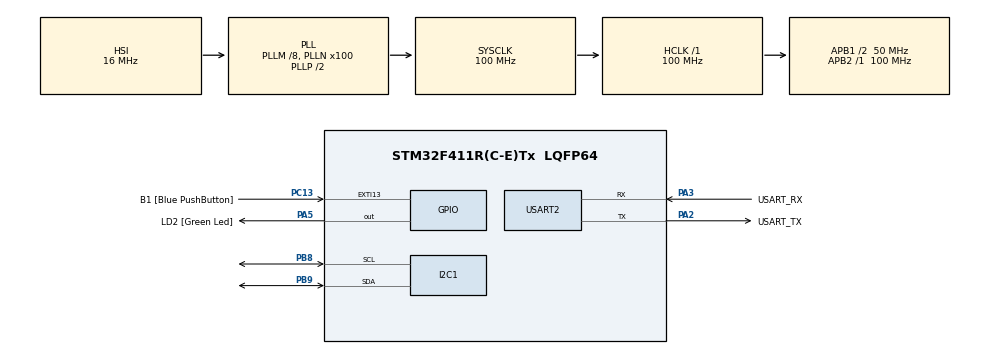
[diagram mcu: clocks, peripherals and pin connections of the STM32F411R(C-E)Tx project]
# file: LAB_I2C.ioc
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Mcu.Family=STM32F4
PC15-OSC32_OUT.Mode=LSE-External-Oscillator
RCC.CortexFreq_Value=100000000
NVIC.I2C1_EV_IRQn=true\:0\:0\:false\:false\:true\:true\:true
PC13-ANTI_TAMP.GPIO_Label=B1 [Blue PushButton]
PA14.GPIO_Label=TCK
PH1\ -\ OSC_OUT.Mode=HSE-External-Clock-Source
RCC.APB1CLKDivider=RCC_HCLK_DIV2
PC14-OSC32_IN.Signal=RCC_OSC32_IN
RCC.SYSCLKSource=RCC_SYSCLKSOURCE_PLLCLK
ProjectManager.StackSize=0x400
PA13.Signal=SYS_JTMS-SWDIO
PA3.Mode=Asynchronous
PH0\ -\ OSC_IN.Mode=HSE-External-Clock-Source
PH0\ -\ OSC_IN.Signal=RCC_OSC_IN
ProjectManager.TargetToolchain=STM32CubeIDE
I2C1.I2C_Mode=I2C_Fast
RCC.HCLKFreq_Value=100000000
PB9.Mode=I2C
RCC.APB2TimFreq_Value=100000000
PC15-OSC32_OUT.Signal=RCC_OSC32_OUT
RCC.AHBFreq_Value=100000000
PA5.Signal=GPIO_Output
RCC.HSE_VALUE=8000000
PH1\ -\ OSC_OUT.Signal=RCC_OSC_OUT
board=NUCLEO-F411RE
PC13-ANTI_TAMP.Signal=GPXTI13
RCC.VCOOutputFreq_Value=200000000
RCC.APB2Freq_Value=100000000
PC14-OSC32_IN.Mode=LSE-External-Oscillator
PA14.Mode=Serial_Wire
PA13.Mode=Serial_Wire
NVIC.I2C1_ER_IRQn=true\:0\:0\:false\:false\:true\:true\:true
Mcu.Name=STM32F411R(C-E)Tx
PA2.Signal=USART2_TX
PA13.GPIO_Label=TMS
RCC.FLatency-AdvancedSettings=FLASH_LATENCY_3
RCC.48MHZClocksFreq_Value=50000000
PB3.Signal=SYS_JTDO-SWO
RCC.SYSCLKFreq_VALUE=100000000
Mcu.Package=LQFP64
PB9.Signal=I2C1_SDA
PA5.GPIO_Label=LD2 [Green Led]
USART2.VirtualMode=VM_ASYNC
PC13-ANTI_TAMP.GPIO_ModeDefaultEXTI=GPIO_MODE_IT_FALLING
PA2.GPIO_Label=USART_TX
PA14.Signal=SYS_JTCK-SWCLK
ProjectManager.HeapSize=0x200
RCC.HSI_VALUE=16000000
NVIC.PriorityGroup=NVIC_PRIORITYGROUP_0
RCC.PLLM=8
PB8.Mode=I2C
RCC.PLLN=100
RCC.APB1TimFreq_Value=100000000
PA2.Mode=Asynchronous
PB8.Signal=I2C1_SCL
RCC.APB1Freq_Value=50000000
PA3.GPIO_Label=USART_RX
PA3.Signal=USART2_RX
PB3.GPIO_Label=SWO

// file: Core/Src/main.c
/* USER CODE BEGIN Header */
/**
  ******************************************************************************
  * @file           : main.c
  * @brief          : Main program body
  ******************************************************************************
  * @attention
  *
  * <h2><center>&copy; Copyright (c) 2021 STMicroelectronics.
  * All rights reserved.</center></h2>
  *
  * This software component is licensed by ST under BSD 3-Clause license,
  * the "License"; You may not use this file except in compliance with the
  * License. You may obtain a copy of the License at:
  *                        opensource.org/licenses/BSD-3-Clause
  *
  ******************************************************************************
  */
/* USER CODE END Header */
#include "main.h"

/* USER CODE BEGIN PD */
#define EEPROM_ADDR 0b10100000
#define IOEXPD_ADDR 0b01000000
/* USER CODE END PD */

I2C_HandleTypeDef hi2c1;

UART_HandleTypeDef huart2;

/* USER CODE BEGIN PV */

void IOExpenderInit();
uint8_t Wdata=0b11111111;
void writerom();
void Readrom();
uint8_t Rdata=0;
uint8_t Iowrite=0b11111111;
void WriteioEx();
uint8_t blue=0;
uint8_t preblue=0;
uint8_t Rio=0;
void ReadioEx();
/* USER CODE END PV */

void SystemClock_Config(void);
static void MX_GPIO_Init(void);
static void MX_USART2_UART_Init(void);
static void MX_I2C1_Init(void);

int main(void)
{

  /* MCU Configuration--------------------------------------------------------*/

  /* Reset of all peripherals, Initializes the Flash interface and the Systick. */

	HAL_Init();

  /* Configure the system clock */
  SystemClock_Config();

  /* Initialize all configured peripherals */
  MX_GPIO_Init();
  MX_USART2_UART_Init();
  MX_I2C1_Init();
  /* USER CODE BEGIN 2 */

  IOExpenderInit();
  Readrom();
  WriteioEx();

  /* USER CODE END 2 */

  /* Infinite loop */
  /* USER CODE BEGIN WHILE */
  while (1)
  {

	  blue=HAL_GPIO_ReadPin(GPIOC, GPIO_PIN_13);
	  	  if(blue==0 && blue!=preblue){
	  		 ReadioEx();
//	  		 HAL_Delay(1000);
	  		 writerom();
	  		 Readrom();
	  		 WriteioEx();

//	  		 writerom();
//	  		 WriteioEx();

	  	  }

	  preblue=blue;
    /* USER CODE END WHILE */

  }
}

void SystemClock_Config(void)
{
  RCC_OscInitTypeDef RCC_OscInitStruct = {0};
  RCC_ClkInitTypeDef RCC_ClkInitStruct = {0};

  /** Configure the main internal regulator output voltage
  */
  __HAL_RCC_PWR_CLK_ENABLE();
  __HAL_PWR_VOLTAGESCALING_CONFIG(PWR_REGULATOR_VOLTAGE_SCALE1);
  /** Initializes the RCC Oscillators according to the specified parameters
  * in the RCC_OscInitTypeDef structure.
  */
  RCC_OscInitStruct.OscillatorType = RCC_OSCILLATORTYPE_HSI;
  RCC_OscInitStruct.HSIState = RCC_HSI_ON;
  RCC_OscInitStruct.HSICalibrationValue = RCC_HSICALIBRATION_DEFAULT;
  RCC_OscInitStruct.PLL.PLLState = RCC_PLL_ON;
  RCC_OscInitStruct.PLL.PLLSource = RCC_PLLSOURCE_HSI;
  RCC_OscInitStruct.PLL.PLLM = 8;
  RCC_OscInitStruct.PLL.PLLN = 100;
  RCC_OscInitStruct.PLL.PLLP = RCC_PLLP_DIV2;
  RCC_OscInitStruct.PLL.PLLQ = 4;
  if (HAL_RCC_OscConfig(&RCC_OscInitStruct) != HAL_OK)
  {
    Error_Handler();
  }
  /** Initializes the CPU, AHB and APB buses clocks
  */
  RCC_ClkInitStruct.ClockType = RCC_CLOCKTYPE_HCLK|RCC_CLOCKTYPE_SYSCLK
                              |RCC_CLOCKTYPE_PCLK1|RCC_CLOCKTYPE_PCLK2;
  RCC_ClkInitStruct.SYSCLKSource = RCC_SYSCLKSOURCE_PLLCLK;
  RCC_ClkInitStruct.AHBCLKDivider = RCC_SYSCLK_DIV1;
  RCC_ClkInitStruct.APB1CLKDivider = RCC_HCLK_DIV2;
  RCC_ClkInitStruct.APB2CLKDivider = RCC_HCLK_DIV1;

  if (HAL_RCC_ClockConfig(&RCC_ClkInitStruct, FLASH_LATENCY_3) != HAL_OK)
  {
    Error_Handler();
  }
}

static void MX_I2C1_Init(void)
{

  hi2c1.Instance = I2C1;
  hi2c1.Init.ClockSpeed = 400000;
  hi2c1.Init.DutyCycle = I2C_DUTYCYCLE_2;
  hi2c1.Init.OwnAddress1 = 0;
  hi2c1.Init.AddressingMode = I2C_ADDRESSINGMODE_7BIT;
  hi2c1.Init.DualAddressMode = I2C_DUALADDRESS_DISABLE;
  hi2c1.Init.OwnAddress2 = 0;
  hi2c1.Init.GeneralCallMode = I2C_GENERALCALL_DISABLE;
  hi2c1.Init.NoStretchMode = I2C_NOSTRETCH_DISABLE;
  if (HAL_I2C_Init(&hi2c1) != HAL_OK)
  {
    Error_Handler();
  }

}

static void MX_USART2_UART_Init(void)
{

  huart2.Instance = USART2;
  huart2.Init.BaudRate = 115200;
  huart2.Init.WordLength = UART_WORDLENGTH_8B;
  huart2.Init.StopBits = UART_STOPBITS_1;
  huart2.Init.Parity = UART_PARITY_NONE;
  huart2.Init.Mode = UART_MODE_TX_RX;
  huart2.Init.HwFlowCtl = UART_HWCONTROL_NONE;
  huart2.Init.OverSampling = UART_OVERSAMPLING_16;
  if (HAL_UART_Init(&huart2) != HAL_OK)
  {
    Error_Handler();
  }

}

static void MX_GPIO_Init(void)
{
  GPIO_InitTypeDef GPIO_InitStruct = {0};

  /* GPIO Ports Clock Enable */
  __HAL_RCC_GPIOC_CLK_ENABLE();
  __HAL_RCC_GPIOH_CLK_ENABLE();
  __HAL_RCC_GPIOA_CLK_ENABLE();
  __HAL_RCC_GPIOB_CLK_ENABLE();

  /*Configure GPIO pin Output Level */
  HAL_GPIO_WritePin(LD2_GPIO_Port, LD2_Pin, GPIO_PIN_RESET);

  /*Configure GPIO pin : B1_Pin */
  GPIO_InitStruct.Pin = B1_Pin;
  GPIO_InitStruct.Mode = GPIO_MODE_IT_FALLING;
  GPIO_InitStruct.Pull = GPIO_NOPULL;
  HAL_GPIO_Init(B1_GPIO_Port, &GPIO_InitStruct);

  /*Configure GPIO pin : LD2_Pin */
  GPIO_InitStruct.Pin = LD2_Pin;
  GPIO_InitStruct.Mode = GPIO_MODE_OUTPUT_PP;
  GPIO_InitStruct.Pull = GPIO_NOPULL;
  GPIO_InitStruct.Speed = GPIO_SPEED_FREQ_LOW;
  HAL_GPIO_Init(LD2_GPIO_Port, &GPIO_InitStruct);

}

/* USER CODE BEGIN 4 */
void writerom(){

	HAL_I2C_Mem_Write(&hi2c1, EEPROM_ADDR, 0x26, I2C_MEMADD_SIZE_16BIT,&Rio, 1,1000);

}
void Readrom(){

	HAL_I2C_Mem_Read(&hi2c1, EEPROM_ADDR, 0x26, I2C_MEMADD_SIZE_16BIT,&Rio,1,1000);

}

void WriteioEx(){

	HAL_I2C_Mem_Write(&hi2c1, IOEXPD_ADDR, 0x15, I2C_MEMADD_SIZE_8BIT,&Rio, 1,1000);
}

void ReadioEx(){
	HAL_I2C_Mem_Read(&hi2c1, IOEXPD_ADDR, 0x12, I2C_MEMADD_SIZE_8BIT,&Rio, 1,1000);
}

void IOExpenderInit() {
	//Init All
	static uint8_t Setting[0x16] = { 0xFF, 0x00, 0x00, 0x00, 0x00, 0x00, 0x00,
			0x00, 0x00, 0x00, 0x00, 0x00, 0xFF, 0x00, 0x00, 0x00, 0x00, 0x00,
			0x00, 0x00, 0x00, 0x00 };
	HAL_I2C_Mem_Write(&hi2c1, IOEXPD_ADDR, 0x00, I2C_MEMADD_SIZE_8BIT, Setting,0x16, 2000);
}

/* USER CODE END 4 */

void Error_Handler(void)
{
  __disable_irq();
  while (1)
  {
  }
}

/************************ (C) COPYRIGHT STMicroelectronics *****END OF FILE****/
